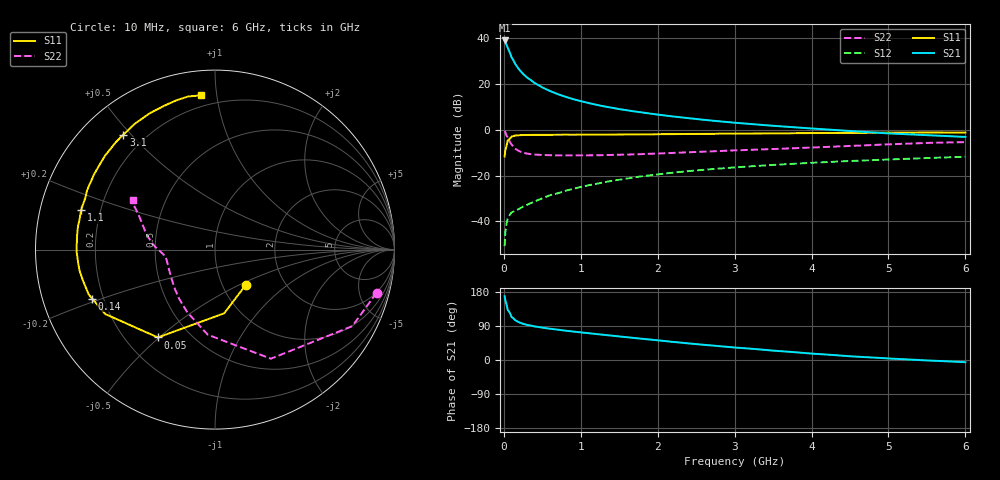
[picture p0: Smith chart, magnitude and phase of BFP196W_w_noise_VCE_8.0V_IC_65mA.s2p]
! Infineon Technologies  Discrete & RF Semiconductors
! BFP196W
! VCE =  8.0 V,  IC =  65 mA
! Common Emitter S-Parameters:  Jan 2017
# GHz  S  MA  R  50
!  f  S11  S21  S12  S22
! GHz  MAG  ANG  MAG  ANG  MAG  ANG  MAG  ANG
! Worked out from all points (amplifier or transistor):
!   77 points, 10 MHz to 6 GHz, reference 50 ohm
!   highest |S21| = 38.8 dB at 10 MHz (marker M1)
!   |S21| within 3 dB of that: start of sweep to 48.15 MHz
!   unconditionally stable (mu >= 1): 649 MHz to 3.257 GHz
!   at 130 MHz: K = 0.46, MSG = 32.7 dB, |S12| = -35.6 dB
!   at 2.2 GHz: K = 1.04, MAG = 11.1 dB, |S12| = -18.7 dB
!   at 6 GHz: K = 0.93, MSG = 4.3 dB, |S12| = -11.8 dB
!   lowest NFmin = 1.51 dB at 450 MHz
!   S11 on the Smith chart (normalised r, x): 10 MHz: 1.28, -0.54; 50 MHz: 0.33, -0.50; 140 MHz: 0.16, -0.19; 1.1 GHz: 0.13, +0.14; 3.1 GHz: 0.12, +0.48; 6 GHz: 0.13, +0.90
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0.01  0.2613 -49.2  87.53 168.2  0.0029 85.5  0.9317 -15.0
0.02  0.3586 -81.8  82 156.7  0.0059 67.6  0.8761 -29.1
0.05  0.5836 -123.0  60.98 132.4  0.0117 53.0  0.6827 -62.9
0.1  0.7087 -149.5  37.85 113.3  0.0157 44.6  0.4756 -94.9
0.14  0.737 -158.3  28.79 107.0  0.0169 43.2  0.3969 -109.3
0.15  0.7467 -160.4  26.6 104.7  0.0172 42.9  0.3822 -113.8
0.2  0.7556 -166.7  20.29 99.2  0.0188 44.7  0.34 -125.7
0.25  0.7635 -171.0  16.38 95.5  0.0211 47.9  0.3155 -134.5
0.3  0.7659 -174.1  13.7 92.8  0.0229 50.2  0.3012 -140.7
0.4  0.7706 -178.8  10.37 88.5  0.0273 55.0  0.2872 -149.2
0.5  0.7709 177.9  8.302 85.3  0.0319 57.9  0.2803 -154.8
0.6  0.7719 175.0  6.94 82.5  0.0373 59.7  0.2779 -158.7
0.7  0.7731 172.5  5.946 80.1  0.0411 62.3  0.275 -161.7
0.9  0.7731 167.7  4.622 75.1  0.0512 63.4  0.2755 -165.5
1.1  0.7773 163.6  3.804 70.8  0.0615 63.9  0.2762 -168.3
1.3  0.777 159.6  3.221 66.4  0.0712 63.3  0.2789 -170.6
1.5  0.7836 156.0  2.804 62.2  0.0812 62.6  0.2841 -172.9
2.1  0.7964 144.8  2.03 49.9  0.1109 58.3  0.3065 -178.4
3.1  0.8191 128.5  1.373 31.5  0.1545 49.8  0.358 173.0
4.1  0.8429 114.4  1.034 15.6  0.193 41.3  0.414 163.1
5.1  0.8601 103.6  0.814 3.0  0.227 33.3  0.485 153.9
6  0.8627 95.3  0.694 -5.8  0.2567 26.4  0.5354 149.1
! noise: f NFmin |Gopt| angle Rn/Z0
0.45  1.51  0.53  -175  0.06
0.9  1.64  0.57  -170  0.07
1.9  2.49  0.7  -148  0.18
2.4  2.88  0.74  -144  0.28
